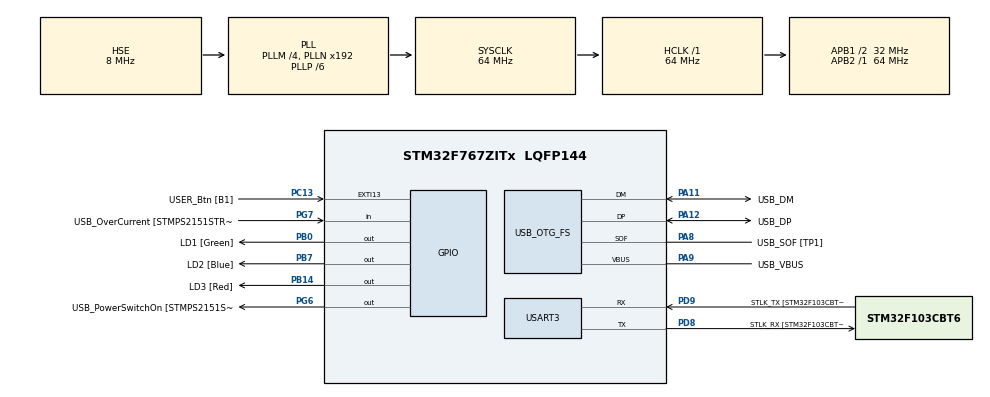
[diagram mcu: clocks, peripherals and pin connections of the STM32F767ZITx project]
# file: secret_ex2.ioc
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Mcu.Family=STM32F7
Mcu.Name=STM32F767ZITx
Mcu.Package=LQFP144
NVIC.EXTI15_10_IRQn=true\:0\:0\:false\:false\:true\:true\:true\:true
NVIC.PriorityGroup=NVIC_PRIORITYGROUP_4
NVIC.TIM2_IRQn=true\:0\:0\:false\:false\:true\:true\:true\:true
NVIC.TIM3_IRQn=true\:0\:0\:false\:false\:true\:true\:true\:true
PA1.GPIO_Label=RMII_REF_CLK [LAN8742A-CZ-TR_REFCLK0]
PA1.Signal=ETH_REF_CLK
PA10.GPIO_Label=USB_ID
PA10.Signal=USB_OTG_FS_ID
PA11.GPIO_Label=USB_DM
PA11.Mode=Device_Only
PA11.Signal=USB_OTG_FS_DM
PA12.GPIO_Label=USB_DP
PA12.Mode=Device_Only
PA12.Signal=USB_OTG_FS_DP
PA13.GPIO_Label=TMS
PA13.Mode=Serial_Wire
PA13.Signal=SYS_JTMS-SWDIO
PA14.GPIO_Label=TCK
PA14.Mode=Serial_Wire
PA14.Signal=SYS_JTCK-SWCLK
PA2.GPIO_Label=RMII_MDIO [LAN8742A-CZ-TR_MDIO]
PA2.Signal=ETH_MDIO
PA7.GPIO_Label=RMII_CRS_DV [LAN8742A-CZ-TR_CRS_DV]
PA7.Signal=ETH_CRS_DV
PA8.GPIO_Label=USB_SOF [TP1]
PA8.Mode=Activate_SOF_FS
PA8.Signal=USB_OTG_FS_SOF
PA9.GPIO_Label=USB_VBUS
PA9.Mode=Activate_VBUS
PA9.Signal=USB_OTG_FS_VBUS
PB0.GPIO_Label=LD1 [Green]
PB0.Signal=GPIO_Output
PB13.GPIO_Label=RMII_TXD1 [LAN8742A-CZ-TR_TXD1]
PB13.Signal=ETH_TXD1
PB14.GPIO_Label=LD3 [Red]
PB14.Signal=GPIO_Output
PB3.GPIO_Label=SWO
PB3.Signal=SYS_JTDO-SWO
PB7.GPIO_Label=LD2 [Blue]
PB7.Signal=GPIO_Output
PC1.GPIO_Label=RMII_MDC [LAN8742A-CZ-TR_MDC]
PC1.Signal=ETH_MDC
PC13.GPIO_Label=USER_Btn [B1]
PC13.GPIO_ModeDefaultEXTI=GPIO_MODE_IT_RISING_FALLING
PC13.GPIO_PuPd=GPIO_NOPULL
PC13.Signal=GPXTI13
PC14/OSC32_IN.Mode=LSE-External-Oscillator
PC14/OSC32_IN.Signal=RCC_OSC32_IN
PC15/OSC32_OUT.Mode=LSE-External-Oscillator
PC15/OSC32_OUT.Signal=RCC_OSC32_OUT
PC4.GPIO_Label=RMII_RXD0 [LAN8742A-CZ-TR_RXD0]
PC4.Signal=ETH_RXD0
PC5.GPIO_Label=RMII_RXD1 [LAN8742A-CZ-TR_RXD1]
PC5.Signal=ETH_RXD1
PD8.GPIO_Label=STLK_RX [STM32F103CBT6_PA3]
PD8.Mode=Asynchronous
PD8.Signal=USART3_TX
PD9.GPIO_Label=STLK_TX [STM32F103CBT6_PA2]
PD9.Mode=Asynchronous
PD9.Signal=USART3_RX
PG11.GPIO_Label=RMII_TX_EN [LAN8742A-CZ-TR_TXEN]
PG11.Signal=ETH_TX_EN
PG13.GPIO_Label=RMII_TXD0 [LAN8742A-CZ-TR_TXD0]
PG13.Signal=ETH_TXD0
PG6.GPIO_Label=USB_PowerSwitchOn [STMPS2151STR_EN]
PG6.Signal=GPIO_Output
PG7.GPIO_Label=USB_OverCurrent [STMPS2151STR_FAULT]
PG7.Signal=GPIO_Input
PH0/OSC_IN.GPIO_Label=MCO [STM32F103CBT6_PA8]
PH0/OSC_IN.Mode=HSE-External-Clock-Source
PH0/OSC_IN.Signal=RCC_OSC_IN
PH1/OSC_OUT.Mode=HSE-External-Clock-Source
PH1/OSC_OUT.Signal=RCC_OSC_OUT
ProjectManager.HeapSize=0x200
ProjectManager.StackSize=0x400
ProjectManager.TargetToolchain=STM32CubeIDE
RCC.48MHZClocksFreq_Value=24000000
RCC.AHBFreq_Value=64000000
RCC.APB1CLKDivider=RCC_HCLK_DIV2
RCC.APB1Freq_Value=32000000
RCC.APB1TimFreq_Value=64000000
RCC.APB2Freq_Value=64000000
RCC.APB2TimFreq_Value=64000000
RCC.CortexFreq_Value=64000000
RCC.HCLKFreq_Value=64000000
RCC.HSE_VALUE=8000000
RCC.HSI_VALUE=16000000
RCC.PLLM=4
RCC.PLLMUL=RCC_PLL_MUL9
RCC.PLLP=RCC_PLLP_DIV6
RCC.PLLQ=8
RCC.PRESCALERUSB=RCC_USBCLKSOURCE_PLL_DIV1_5
RCC.SYSCLKFreq_VALUE=64000000
RCC.SYSCLKSource=RCC_SYSCLKSOURCE_PLLCLK
RCC.SYSCLKSourceVirtual=RCC_SYSCLKSOURCE_PLLCLK
RCC.USBFreq_Value=48000000
RCC.VCOOutputFreq_Value=384000000
TIM2.Period=4000
TIM2.Prescaler=6399
TIM3.Period=10000
TIM3.Prescaler=6399
USART3.VirtualMode-Asynchronous=VM_ASYNC
USB_OTG_FS.VirtualMode=Device_Only
VP_TIM2_VS_ClockSourceINT.Mode=Internal
VP_TIM3_VS_ClockSourceINT.Mode=Internal
board=NUCLEO-F767ZI

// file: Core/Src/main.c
/* USER CODE BEGIN Header */
/**
 ******************************************************************************
 * @file           : main.c
 * @brief          : Main program body
 ******************************************************************************
 * @attention
 *
 * Copyright (c) 2023 STMicroelectronics.
 * All rights reserved.
 *
 * This software is licensed under terms that can be found in the LICENSE file
 * in the root directory of this software component.
 * If no LICENSE file comes with this software, it is provided AS-IS.
 *
 ******************************************************************************
 */
/* USER CODE END Header */
#include "main.h"

/* USER CODE BEGIN Includes */
#include "stdarg.h"
/* USER CODE END Includes */

TIM_HandleTypeDef htim2;
TIM_HandleTypeDef htim3;

UART_HandleTypeDef huart3;

PCD_HandleTypeDef hpcd_USB_OTG_FS;

void SystemClock_Config(void);
static void MX_GPIO_Init(void);
static void MX_USART3_UART_Init(void);
static void MX_USB_OTG_FS_PCD_Init(void);
static void MX_TIM2_Init(void);
static void MX_TIM3_Init(void);

/* USER CODE BEGIN 0 */
void sendString(UART_HandleTypeDef huart, char *tosend) {
	while (__HAL_UART_GET_FLAG(&huart,UART_FLAG_TC) == RESET) {
	}
	HAL_UART_Transmit(&huart, (uint8_t*) tosend, strlen(tosend),
	HAL_MAX_DELAY);
}
void DEBUGPRINTF(const char *format, ...) {
	static char buffer[500]; // You can adjust the buffer size as needed
	va_list args;
	va_start(args, format);
	vsnprintf(buffer, sizeof(buffer), format, args);
	va_end(args);
	sendString(huart3, buffer);
}

volatile uint32_t counter = 3001;
volatile uint8_t buttonStatus = 0;

//TIMMY2 equivalent?
void HAL_TIM_PeriodElapsedCallback(TIM_HandleTypeDef *htim) {
	if (htim->Instance == TIM2) {
		// Timer elapsed. You can call your callback function here
		// not used
	} else if (htim->Instance == TIM3) {
		if (buttonStatus == 1) {
			HAL_GPIO_WritePin(GPIOB, GPIO_PIN_0, GPIO_PIN_SET);
			buttonStatus = 2;
		} else if (buttonStatus == 2) {
			HAL_GPIO_WritePin(GPIOB, GPIO_PIN_7, GPIO_PIN_SET);
			buttonStatus = 3;
		} else if (buttonStatus == 3) {
			HAL_GPIO_WritePin(GPIOB, GPIO_PIN_7, GPIO_PIN_RESET);
			HAL_GPIO_WritePin(GPIOB, GPIO_PIN_0, GPIO_PIN_RESET);
			buttonStatus = 0;
		} else {
			if (counter > 3030)
				counter = 3001;
			DEBUGPRINTF("%d\r\n", counter);
			counter += 2;
		}

	}
}

void HAL_GPIO_EXTI_Callback(uint16_t GPIO_Pin) {
	if (GPIO_Pin == GPIO_PIN_13) {
		buttonStatus = 1;
		// กดปุ่มค้าง
//		uint8_t buttonState = HAL_GPIO_ReadPin(GPIOC, GPIO_Pin);
//		if(buttonState){
//			//button down
//
//		}
//		else{
//			//button lift
//
//		}
//		DEBUGPRINTF("button %d", buttonState);
	}
}

/* USER CODE END 0 */

int main(void)
{

  /* MCU Configuration--------------------------------------------------------*/

  /* Reset of all peripherals, Initializes the Flash interface and the Systick. */
  HAL_Init();

  /* Configure the system clock */
  SystemClock_Config();

  /* Initialize all configured peripherals */
  MX_GPIO_Init();
  MX_USART3_UART_Init();
  MX_USB_OTG_FS_PCD_Init();
  MX_TIM2_Init();
  MX_TIM3_Init();
  /* USER CODE BEGIN 2 */
	if (HAL_TIM_Base_Start_IT(&htim3) != HAL_OK) {
		/* Starting Error */
		Error_Handler();
	}
	if (HAL_TIM_Base_Start_IT(&htim2) != HAL_OK) {
		/* Starting Error */
		Error_Handler();
	}

  /* USER CODE END 2 */

  /* Infinite loop */
	while (1) {

	}
}

void SystemClock_Config(void)
{
  RCC_OscInitTypeDef RCC_OscInitStruct = {0};
  RCC_ClkInitTypeDef RCC_ClkInitStruct = {0};

  /** Configure LSE Drive Capability
  */
  HAL_PWR_EnableBkUpAccess();

  /** Configure the main internal regulator output voltage
  */
  __HAL_RCC_PWR_CLK_ENABLE();
  __HAL_PWR_VOLTAGESCALING_CONFIG(PWR_REGULATOR_VOLTAGE_SCALE3);

  /** Initializes the RCC Oscillators according to the specified parameters
  * in the RCC_OscInitTypeDef structure.
  */
  RCC_OscInitStruct.OscillatorType = RCC_OSCILLATORTYPE_HSE;
  RCC_OscInitStruct.HSEState = RCC_HSE_BYPASS;
  RCC_OscInitStruct.PLL.PLLState = RCC_PLL_ON;
  RCC_OscInitStruct.PLL.PLLSource = RCC_PLLSOURCE_HSE;
  RCC_OscInitStruct.PLL.PLLM = 4;
  RCC_OscInitStruct.PLL.PLLN = 192;
  RCC_OscInitStruct.PLL.PLLP = RCC_PLLP_DIV6;
  RCC_OscInitStruct.PLL.PLLQ = 8;
  RCC_OscInitStruct.PLL.PLLR = 2;
  if (HAL_RCC_OscConfig(&RCC_OscInitStruct) != HAL_OK)
  {
    Error_Handler();
  }

  /** Initializes the CPU, AHB and APB buses clocks
  */
  RCC_ClkInitStruct.ClockType = RCC_CLOCKTYPE_HCLK|RCC_CLOCKTYPE_SYSCLK
                              |RCC_CLOCKTYPE_PCLK1|RCC_CLOCKTYPE_PCLK2;
  RCC_ClkInitStruct.SYSCLKSource = RCC_SYSCLKSOURCE_PLLCLK;
  RCC_ClkInitStruct.AHBCLKDivider = RCC_SYSCLK_DIV1;
  RCC_ClkInitStruct.APB1CLKDivider = RCC_HCLK_DIV2;
  RCC_ClkInitStruct.APB2CLKDivider = RCC_HCLK_DIV1;

  if (HAL_RCC_ClockConfig(&RCC_ClkInitStruct, FLASH_LATENCY_2) != HAL_OK)
  {
    Error_Handler();
  }
}

static void MX_TIM2_Init(void)
{

  TIM_ClockConfigTypeDef sClockSourceConfig = {0};
  TIM_MasterConfigTypeDef sMasterConfig = {0};

  htim2.Instance = TIM2;
  htim2.Init.Prescaler = 6399;
  htim2.Init.CounterMode = TIM_COUNTERMODE_UP;
  htim2.Init.Period = 4000;
  htim2.Init.ClockDivision = TIM_CLOCKDIVISION_DIV1;
  htim2.Init.AutoReloadPreload = TIM_AUTORELOAD_PRELOAD_DISABLE;
  if (HAL_TIM_Base_Init(&htim2) != HAL_OK)
  {
    Error_Handler();
  }
  sClockSourceConfig.ClockSource = TIM_CLOCKSOURCE_INTERNAL;
  if (HAL_TIM_ConfigClockSource(&htim2, &sClockSourceConfig) != HAL_OK)
  {
    Error_Handler();
  }
  sMasterConfig.MasterOutputTrigger = TIM_TRGO_RESET;
  sMasterConfig.MasterSlaveMode = TIM_MASTERSLAVEMODE_DISABLE;
  if (HAL_TIMEx_MasterConfigSynchronization(&htim2, &sMasterConfig) != HAL_OK)
  {
    Error_Handler();
  }

}

static void MX_TIM3_Init(void)
{

  TIM_ClockConfigTypeDef sClockSourceConfig = {0};
  TIM_MasterConfigTypeDef sMasterConfig = {0};

  htim3.Instance = TIM3;
  htim3.Init.Prescaler = 6399;
  htim3.Init.CounterMode = TIM_COUNTERMODE_UP;
  htim3.Init.Period = 10000;
  htim3.Init.ClockDivision = TIM_CLOCKDIVISION_DIV1;
  htim3.Init.AutoReloadPreload = TIM_AUTORELOAD_PRELOAD_DISABLE;
  if (HAL_TIM_Base_Init(&htim3) != HAL_OK)
  {
    Error_Handler();
  }
  sClockSourceConfig.ClockSource = TIM_CLOCKSOURCE_INTERNAL;
  if (HAL_TIM_ConfigClockSource(&htim3, &sClockSourceConfig) != HAL_OK)
  {
    Error_Handler();
  }
  sMasterConfig.MasterOutputTrigger = TIM_TRGO_RESET;
  sMasterConfig.MasterSlaveMode = TIM_MASTERSLAVEMODE_DISABLE;
  if (HAL_TIMEx_MasterConfigSynchronization(&htim3, &sMasterConfig) != HAL_OK)
  {
    Error_Handler();
  }

}

static void MX_USART3_UART_Init(void)
{

  huart3.Instance = USART3;
  huart3.Init.BaudRate = 115200;
  huart3.Init.WordLength = UART_WORDLENGTH_8B;
  huart3.Init.StopBits = UART_STOPBITS_1;
  huart3.Init.Parity = UART_PARITY_NONE;
  huart3.Init.Mode = UART_MODE_TX_RX;
  huart3.Init.HwFlowCtl = UART_HWCONTROL_NONE;
  huart3.Init.OverSampling = UART_OVERSAMPLING_16;
  huart3.Init.OneBitSampling = UART_ONE_BIT_SAMPLE_DISABLE;
  huart3.AdvancedInit.AdvFeatureInit = UART_ADVFEATURE_NO_INIT;
  if (HAL_UART_Init(&huart3) != HAL_OK)
  {
    Error_Handler();
  }

}

static void MX_USB_OTG_FS_PCD_Init(void)
{

  hpcd_USB_OTG_FS.Instance = USB_OTG_FS;
  hpcd_USB_OTG_FS.Init.dev_endpoints = 6;
  hpcd_USB_OTG_FS.Init.speed = PCD_SPEED_FULL;
  hpcd_USB_OTG_FS.Init.dma_enable = DISABLE;
  hpcd_USB_OTG_FS.Init.phy_itface = PCD_PHY_EMBEDDED;
  hpcd_USB_OTG_FS.Init.Sof_enable = ENABLE;
  hpcd_USB_OTG_FS.Init.low_power_enable = DISABLE;
  hpcd_USB_OTG_FS.Init.lpm_enable = DISABLE;
  hpcd_USB_OTG_FS.Init.vbus_sensing_enable = ENABLE;
  hpcd_USB_OTG_FS.Init.use_dedicated_ep1 = DISABLE;
  if (HAL_PCD_Init(&hpcd_USB_OTG_FS) != HAL_OK)
  {
    Error_Handler();
  }

}

static void MX_GPIO_Init(void)
{
  GPIO_InitTypeDef GPIO_InitStruct = {0};

  /* GPIO Ports Clock Enable */
  __HAL_RCC_GPIOC_CLK_ENABLE();
  __HAL_RCC_GPIOH_CLK_ENABLE();
  __HAL_RCC_GPIOA_CLK_ENABLE();
  __HAL_RCC_GPIOB_CLK_ENABLE();
  __HAL_RCC_GPIOD_CLK_ENABLE();
  __HAL_RCC_GPIOG_CLK_ENABLE();

  /*Configure GPIO pin Output Level */
  HAL_GPIO_WritePin(GPIOB, LD1_Pin|LD3_Pin|LD2_Pin, GPIO_PIN_RESET);

  /*Configure GPIO pin Output Level */
  HAL_GPIO_WritePin(USB_PowerSwitchOn_GPIO_Port, USB_PowerSwitchOn_Pin, GPIO_PIN_RESET);

  /*Configure GPIO pin : USER_Btn_Pin */
  GPIO_InitStruct.Pin = USER_Btn_Pin;
  GPIO_InitStruct.Mode = GPIO_MODE_IT_RISING_FALLING;
  GPIO_InitStruct.Pull = GPIO_NOPULL;
  HAL_GPIO_Init(USER_Btn_GPIO_Port, &GPIO_InitStruct);

  /*Configure GPIO pins : RMII_MDC_Pin RMII_RXD0_Pin RMII_RXD1_Pin */
  GPIO_InitStruct.Pin = RMII_MDC_Pin|RMII_RXD0_Pin|RMII_RXD1_Pin;
  GPIO_InitStruct.Mode = GPIO_MODE_AF_PP;
  GPIO_InitStruct.Pull = GPIO_NOPULL;
  GPIO_InitStruct.Speed = GPIO_SPEED_FREQ_VERY_HIGH;
  GPIO_InitStruct.Alternate = GPIO_AF11_ETH;
  HAL_GPIO_Init(GPIOC, &GPIO_InitStruct);

  /*Configure GPIO pins : RMII_REF_CLK_Pin RMII_MDIO_Pin RMII_CRS_DV_Pin */
  GPIO_InitStruct.Pin = RMII_REF_CLK_Pin|RMII_MDIO_Pin|RMII_CRS_DV_Pin;
  GPIO_InitStruct.Mode = GPIO_MODE_AF_PP;
  GPIO_InitStruct.Pull = GPIO_NOPULL;
  GPIO_InitStruct.Speed = GPIO_SPEED_FREQ_VERY_HIGH;
  GPIO_InitStruct.Alternate = GPIO_AF11_ETH;
  HAL_GPIO_Init(GPIOA, &GPIO_InitStruct);

  /*Configure GPIO pins : LD1_Pin LD3_Pin LD2_Pin */
  GPIO_InitStruct.Pin = LD1_Pin|LD3_Pin|LD2_Pin;
  GPIO_InitStruct.Mode = GPIO_MODE_OUTPUT_PP;
  GPIO_InitStruct.Pull = GPIO_NOPULL;
  GPIO_InitStruct.Speed = GPIO_SPEED_FREQ_LOW;
  HAL_GPIO_Init(GPIOB, &GPIO_InitStruct);

  /*Configure GPIO pin : RMII_TXD1_Pin */
  GPIO_InitStruct.Pin = RMII_TXD1_Pin;
  GPIO_InitStruct.Mode = GPIO_MODE_AF_PP;
  GPIO_InitStruct.Pull = GPIO_NOPULL;
  GPIO_InitStruct.Speed = GPIO_SPEED_FREQ_VERY_HIGH;
  GPIO_InitStruct.Alternate = GPIO_AF11_ETH;
  HAL_GPIO_Init(RMII_TXD1_GPIO_Port, &GPIO_InitStruct);

  /*Configure GPIO pin : USB_PowerSwitchOn_Pin */
  GPIO_InitStruct.Pin = USB_PowerSwitchOn_Pin;
  GPIO_InitStruct.Mode = GPIO_MODE_OUTPUT_PP;
  GPIO_InitStruct.Pull = GPIO_NOPULL;
  GPIO_InitStruct.Speed = GPIO_SPEED_FREQ_LOW;
  HAL_GPIO_Init(USB_PowerSwitchOn_GPIO_Port, &GPIO_InitStruct);

  /*Configure GPIO pin : USB_OverCurrent_Pin */
  GPIO_InitStruct.Pin = USB_OverCurrent_Pin;
  GPIO_InitStruct.Mode = GPIO_MODE_INPUT;
  GPIO_InitStruct.Pull = GPIO_NOPULL;
  HAL_GPIO_Init(USB_OverCurrent_GPIO_Port, &GPIO_InitStruct);

  /*Configure GPIO pins : RMII_TX_EN_Pin RMII_TXD0_Pin */
  GPIO_InitStruct.Pin = RMII_TX_EN_Pin|RMII_TXD0_Pin;
  GPIO_InitStruct.Mode = GPIO_MODE_AF_PP;
  GPIO_InitStruct.Pull = GPIO_NOPULL;
  GPIO_InitStruct.Speed = GPIO_SPEED_FREQ_VERY_HIGH;
  GPIO_InitStruct.Alternate = GPIO_AF11_ETH;
  HAL_GPIO_Init(GPIOG, &GPIO_InitStruct);

  /* EXTI interrupt init*/
  HAL_NVIC_SetPriority(EXTI15_10_IRQn, 0, 0);
  HAL_NVIC_EnableIRQ(EXTI15_10_IRQn);

}

void Error_Handler(void)
{
	__disable_irq();
	while (1) {
	}
}
